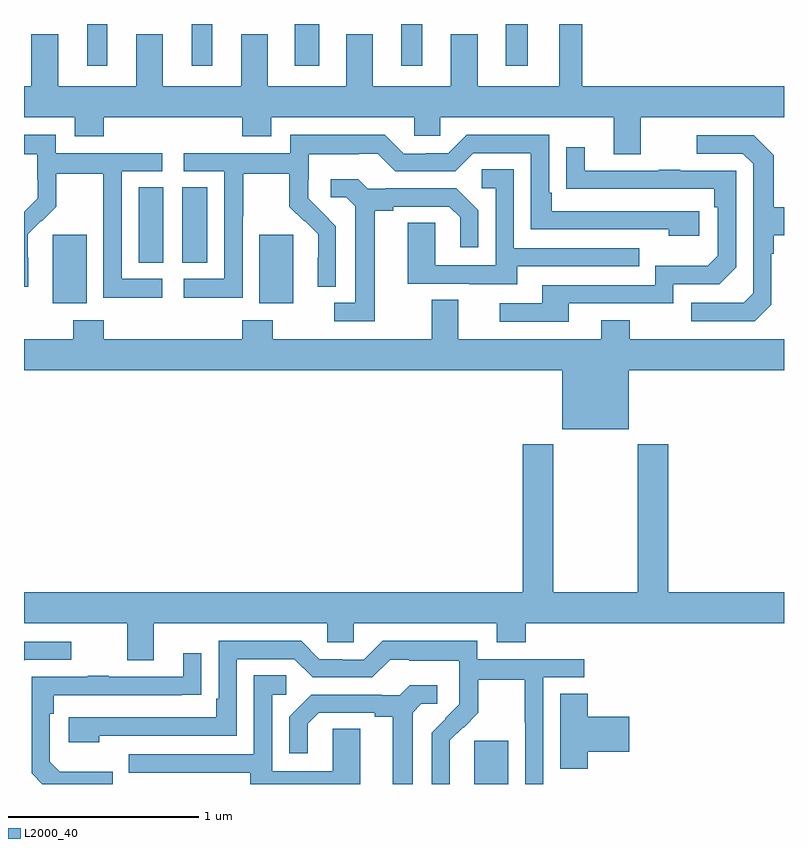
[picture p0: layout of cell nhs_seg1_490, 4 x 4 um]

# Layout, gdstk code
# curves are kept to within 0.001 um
import gdstk
lib = gdstk.Library(unit=1e-6, precision=1e-09)
def R(c, l, rs):  # rectangles x0, y0, x1, y1
    for r in rs: c.add(gdstk.rectangle(r[:2], r[2:], *l))
def P(c, l, *ps):  # polygons
    for p in ps: c.add(gdstk.Polygon(p, *l))
L2000_40 = (2000, 40)

nhs_seg1_490 = lib.new_cell('nhs_seg1_490')
R(nhs_seg1_490, L2000_40, [(139.37,572.199,139.549,572.427), (137.15,574.73,137.329,575.091), (138.239,574.73,138.418,575.091), (137.603,574.942,137.734,575.339), (137.834,574.942,137.965,575.339), (137.333,575.979,137.437,576.199), (137.882,575.979,137.992,576.199), (138.425,575.979,138.553,576.199), (138.986,575.979,139.096,576.199), (139.535,575.979,139.651,576.199)])
P(nhs_seg1_490, L2000_40, [(140.245,575.708),(141,575.708),(141,575.872),(139.939,575.872),(139.939,576.199),(139.817,576.199),(139.817,575.872),(139.387,575.872),(139.387,576.145),(139.247,576.145),(139.247,575.872),(138.835,575.872),(138.835,576.145),(138.695,576.145),(138.695,575.872),(138.283,575.872),(138.283,576.145),(138.143,576.145),(138.143,575.872),(137.731,575.872),(137.731,576.145),(137.591,576.145),(137.591,575.872),(137.179,575.872),(137.179,576.145),(137.039,576.145),(137.039,575.872),(137,575.872),(137,575.708),(137.267,575.708),(137.267,575.609),(137.42,575.609),(137.42,575.708),(138.149,575.708),(138.149,575.609),(138.301,575.609),(138.301,575.708),(139.053,575.708),(139.053,575.61),(139.191,575.61),(139.191,575.708),(140.105,575.708),(140.105,575.514),(140.245,575.514)],
  [(138.15,575.188),(138.153,575.188),(138.153,575.412),(138.397,575.412),(138.397,575.237),(138.474,575.16),(138.477,575.163),(138.548,575.093),(138.548,574.97),(138.546,574.97),(138.546,574.816),(138.642,574.816),(138.642,575.134),(138.496,575.282),(138.496,575.379),(138.498,575.379),(138.498,575.513),(138.761,575.513),(138.761,575.517),(138.861,575.517),(138.954,575.424),(139.269,575.424),(139.365,575.52),(139.668,575.52),(139.668,575.118),(140.393,575.118),(140.393,575.084),(140.554,575.084),(140.554,575.214),(139.777,575.214),(139.777,575.311),(139.764,575.311),(139.764,575.616),(139.329,575.616),(139.233,575.52),(139.115,575.52),(139.115,575.517),(138.999,575.517),(138.899,575.617),(138.402,575.617),(138.402,575.52),(137.841,575.52),(137.841,575.424),(138.054,575.424),(138.054,574.857),(137.841,574.857),(137.841,574.759),(138.15,574.759)],
  [(137.728,574.857),(137.514,574.857),(137.514,575.424),(137.728,575.424),(137.728,575.52),(137.166,575.52),(137.166,575.617),(137,575.617),(137,575.513),(137.07,575.513),(137.07,575.379),(137.072,575.379),(137.072,575.282),(137,575.21),(137,574.816),(137.022,574.816),(137.021,575.093),(137.091,575.163),(137.094,575.16),(137.171,575.237),(137.171,575.412),(137.416,575.412),(137.416,575.188),(137.418,575.188),(137.418,574.759),(137.728,574.759)],
  [(140.934,574.722),(140.934,574.991),(140.947,574.991),(140.947,575.087),(141,575.087),(141,575.235),(140.947,575.235),(140.947,575.507),(140.841,575.613),(140.541,575.613),(140.541,575.517),(140.784,575.517),(140.838,575.463),(140.838,574.782),(140.787,574.731),(140.511,574.731),(140.511,574.635),(140.847,574.635)],
  [(139.867,574.728),(140.418,574.728),(140.418,574.83),(140.658,574.83),(140.748,574.92),(140.748,575.427),(140.453,575.427),(140.453,575.432),(140.341,575.432),(140.341,575.427),(139.951,575.427),(139.951,575.551),(139.855,575.551),(139.855,575.332),(140.632,575.331),(140.632,575.234),(140.652,575.234),(140.652,574.98),(140.599,574.927),(140.322,574.927),(140.322,574.824),(139.727,574.824),(139.727,574.728),(139.503,574.728),(139.503,574.632),(139.867,574.632)],
  [(139.597,574.923),(140.237,574.923),(140.237,575.019),(139.578,575.019),(139.578,575.435),(139.41,575.435),(139.41,575.334),(139.482,575.334),(139.482,574.929),(139.164,574.929),(139.164,575.153),(139.019,575.153),(139.019,574.833),(139.343,574.833),(139.343,574.829),(139.597,574.829)],
  [(138.847,575.216),(138.943,575.216),(138.943,575.238),(139.238,575.238),(139.295,575.181),(139.295,575.025),(139.392,575.025),(139.392,575.218),(139.276,575.334),(138.904,575.334),(138.904,575.331),(138.81,575.331),(138.758,575.383),(138.615,575.383),(138.615,575.286),(138.696,575.286),(138.743,575.239),(138.743,574.731),(138.633,574.731),(138.633,574.635),(138.847,574.635)],
  [(140.182,574.376),(141,574.376),(141,574.54),(140.187,574.54),(140.187,574.639),(140.039,574.639),(140.039,574.54),(139.285,574.54),(139.285,574.748),(139.145,574.748),(139.145,574.54),(138.309,574.54),(138.309,574.639),(138.149,574.639),(138.149,574.54),(137.42,574.54),(137.42,574.639),(137.26,574.639),(137.26,574.54),(137,574.54),(137,574.376),(139.832,574.376),(139.832,574.067),(140.182,574.067)],
  [(137.683,573.044),(138.597,573.044),(138.597,572.946),(138.735,572.946),(138.735,573.044),(139.487,573.044),(139.487,572.945),(139.64,572.945),(139.64,573.044),(141,573.044),(141,573.208),(140.39,573.208),(140.39,573.988),(140.23,573.988),(140.23,573.208),(139.785,573.208),(139.785,573.988),(139.625,573.988),(139.625,573.208),(137,573.208),(137,573.044),(137.543,573.044),(137.543,572.85),(137.683,572.85)],
  [(139.242,572.306),(139.241,572.429),(139.311,572.499),(139.314,572.496),(139.391,572.573),(139.391,572.748),(139.636,572.748),(139.636,572.524),(139.638,572.524),(139.638,572.199),(139.734,572.199),(139.734,572.76),(139.948,572.76),(139.948,572.856),(139.386,572.856),(139.386,572.953),(138.889,572.953),(138.789,572.853),(138.674,572.853),(138.674,572.856),(138.555,572.856),(138.459,572.952),(138.024,572.952),(138.024,572.647),(138.011,572.647),(138.011,572.55),(137.235,572.55),(137.235,572.42),(137.396,572.42),(137.396,572.454),(138.12,572.454),(138.12,572.856),(138.423,572.856),(138.519,572.76),(138.834,572.76),(138.927,572.853),(139.027,572.853),(139.027,572.849),(139.29,572.849),(139.29,572.715),(139.292,572.715),(139.292,572.618),(139.146,572.47),(139.146,572.199),(139.242,572.199)],
  [(137.004,572.853),(137.248,572.853),(137.248,572.949),(137,572.949),(137,572.849)],
  [(137.466,572.263),(137.189,572.263),(137.136,572.316),(137.136,572.57),(137.156,572.57),(137.156,572.667),(137.933,572.668),(137.933,572.887),(137.837,572.887),(137.837,572.763),(137.447,572.763),(137.447,572.768),(137.335,572.768),(137.335,572.763),(137.04,572.763),(137.04,572.256),(137.097,572.199),(137.466,572.199)],
  [(138.769,572.489),(138.624,572.489),(138.624,572.265),(138.306,572.265),(138.306,572.67),(138.379,572.67),(138.379,572.771),(138.21,572.771),(138.21,572.355),(137.551,572.355),(137.551,572.259),(138.191,572.259),(138.191,572.199),(138.769,572.199)],
  [(139.045,572.575),(139.092,572.622),(139.174,572.622),(139.174,572.719),(139.03,572.719),(138.978,572.667),(138.884,572.667),(138.884,572.67),(138.512,572.67),(138.396,572.554),(138.396,572.361),(138.493,572.361),(138.493,572.517),(138.55,572.574),(138.845,572.574),(138.845,572.552),(138.941,572.552),(138.941,572.199),(139.045,572.199)],
  [(139.967,572.369),(140.185,572.369),(140.185,572.552),(139.967,572.552),(139.967,572.675),(139.823,572.675),(139.823,572.278),(139.967,572.278)])

lib.write_gds('nhs_seg1_490.gds')
